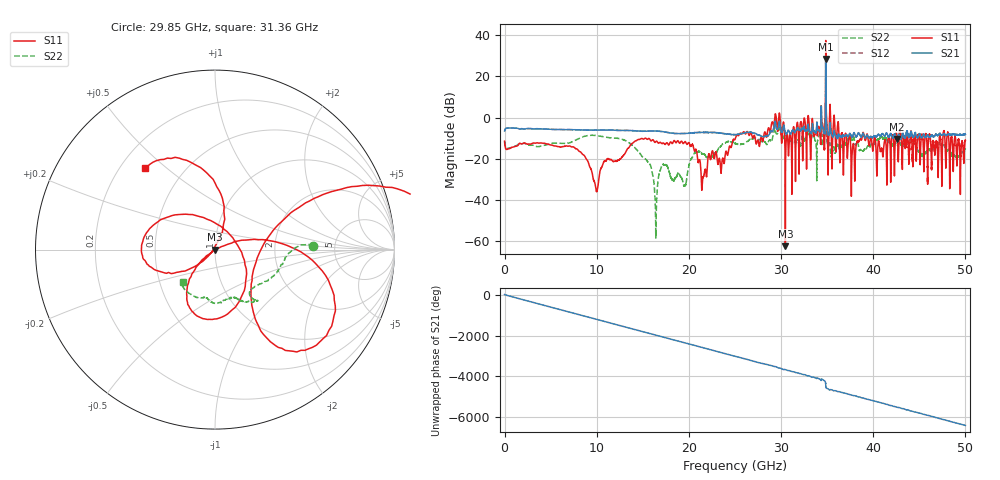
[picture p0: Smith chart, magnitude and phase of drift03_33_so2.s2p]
!Created with skrf (http://scikit-rf.org).
# Hz S RI R 50.0
!freq ReS11 ImS11 ReS21 ImS21 ReS12 ImS12 ReS22 ImS22
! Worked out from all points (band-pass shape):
!   10001 points, 300 kHz to 50 GHz, reference 50 ohm
!   highest |S21| = 28.49 dB at 34.85 GHz (marker M1); lowest = -10.3 dB at 42.56 GHz (marker M2)
!   |S21| within 3 dB of the highest: 34.84386 GHz to 34.846 GHz (2.136 MHz wide, 0.00613 % of centre)
!   lowest |S11| = -62.3 dB at 30.47 GHz (marker M3), VSWR 1.00, Z = 49.9 + j0.00329 ohm
!   |S11| at or under -10 dB: start of sweep to 15.23 GHz; 15.32 GHz to 25.05 GHz (9.736 GHz wide, 48.2 % of centre); 40.22 GHz to 41.62 GHz (1.397 GHz wide, 3.41 % of centre) (the widest 3 of 48)
!   |S22| runs from -58.4 to 19.4 dB; largest |S21 - S12| = 3.7
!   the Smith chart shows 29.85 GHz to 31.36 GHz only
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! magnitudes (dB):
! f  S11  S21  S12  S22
! 300 kHz  -11.4  -6.5  -6.5  -11.4
! 8.335 GHz  -17.1  -6.0  -6.0  -9.6
! 9.955 GHz  -35.6  -6.1  -6.1  -8.7
! 11 GHz  -21.0  -6.0  -6.0  -9.5
! 13.93 GHz  -12.3  -6.3  -6.3  -13.8
! 16.36 GHz  -11.9  -6.5  -6.5  -43.3
! 16.67 GHz  -12.4  -6.6  -6.5  -29.7
! 17.33 GHz  -12.7  -6.9  -6.9  -22.9
! 19.55 GHz  -11.7  -7.7  -7.7  -33.0
! 20.21 GHz  -13.9  -7.4  -7.5  -20.2
! 21.55 GHz  -28.7  -7.2  -7.2  -17.7
! 25 GHz  -10.6  -8.2  -8.2  -12.5
! 29.6 GHz  -5.5  -5.7  -5.9  -7.8
! 30.47 GHz  -62.3  -7.2  -7.2  -9.1
! 33.34 GHz  -3.8  -6.9  -6.8  -9.4
! 34.85 GHz  37.4  28.5  28.2  19.4
! 35.63 GHz  -6.7  -9.2  -9.1  -15.9
! 37.82 GHz  -12.8  -8.4  -8.4  -10.0
! 38.81 GHz  -9.1  -8.3  -8.3  -16.1
! 41.67 GHz  -9.4  -9.5  -9.4  -11.3
! 42.56 GHz  -8.4  -10.3  -10.4  -13.2
! 50 GHz  -11.0  -8.2  -8.2  -15.4
